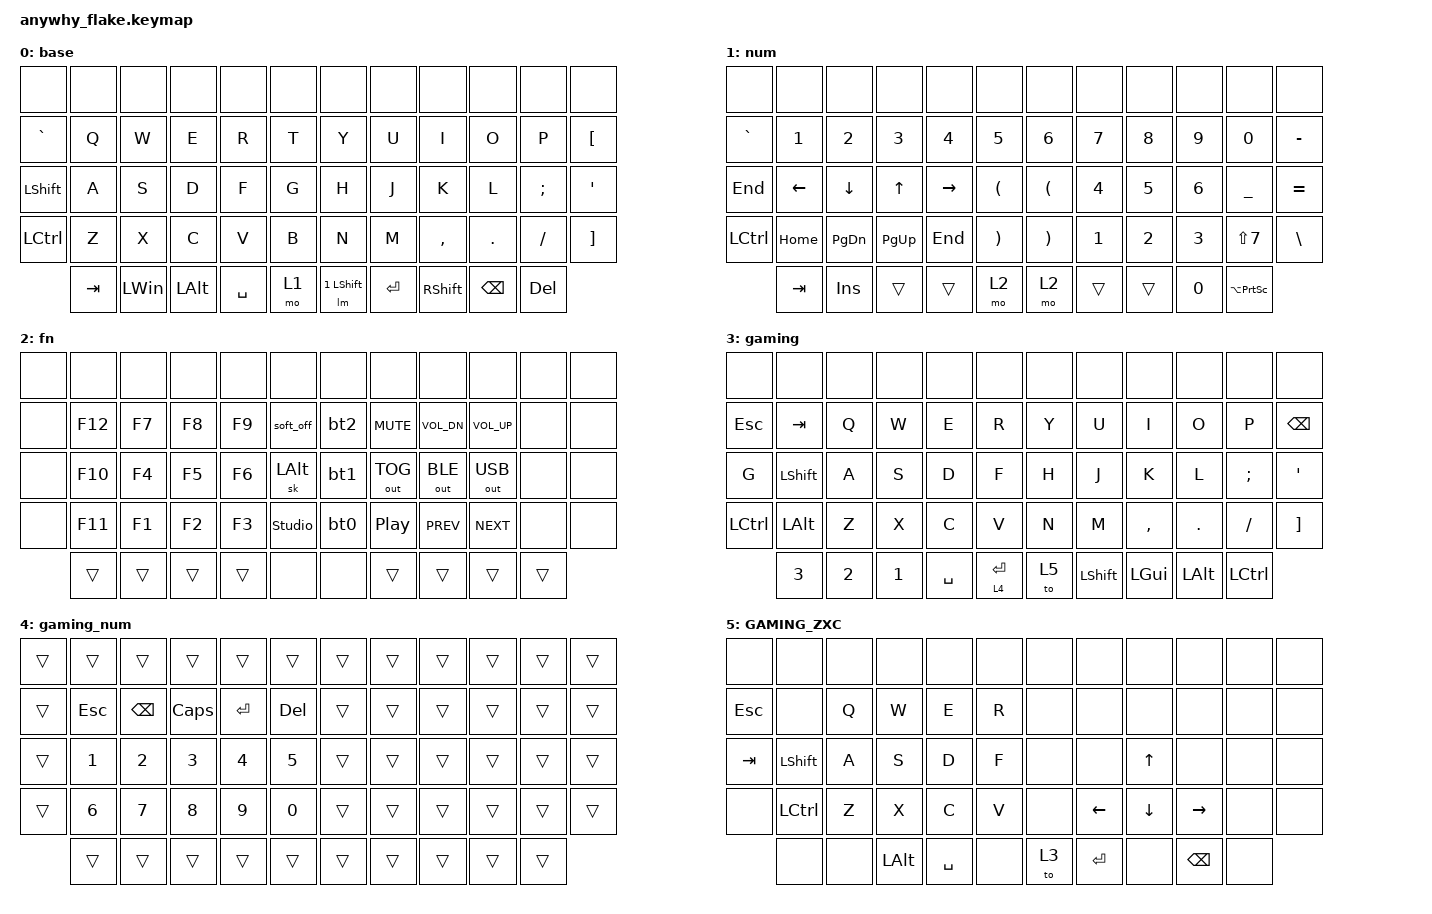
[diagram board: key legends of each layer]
#include <behaviors.dtsi>
#include <dt-bindings/zmk/bt.h>
#include <dt-bindings/zmk/keys.h>
#include <dt-bindings/zmk/outputs.h>

/ {
    combos {
        compatible = "zmk,combos";

        enter_gaming {
            bindings = <&to 3>;
            key-positions = <26 15 28>;
            layers = <2>;
        };

        leave_gaming {
            bindings = <&to 0>;
            key-positions = <23 22 21>;
            layers = <3 5>;
        };

        escape {
            bindings = <&kp ESC>;
            key-positions = <12 13>;
            layers = <0 3>;
        };

        shift-insert {
            bindings = <&kp LS(INSERT)>;
            key-positions = <20 55>;
            layers = <0>;
        };

        ctrl-insert {
            bindings = <&kp LC(INS)>;
            key-positions = <36 20>;
            layers = <0>;
        };

        Tab_c {
            bindings = <&kp TAB>;
            key-positions = <24 25>;
        };

        App_c {
            bindings = <&kp K_APPLICATION>;
            key-positions = <57 56>;
        };

        Alt_Tab {
            bindings = <&kp LA(TAB)>;
            key-positions = <50 24>;
            layers = <0>;
        };

        us_c {
            bindings = <&kp UNDERSCORE>;
            key-positions = <34 35>;
            layers = <0>;
        };

        bs_c {
            bindings = <&kp BACKSLASH>;
            key-positions = <47 46>;
        };
    };

    macros {
        bt_clr_0: bt_clr_0 {
            compatible = "zmk,behavior-macro";
            #binding-cells = <0>;
            bindings = <&bt BT_SEL 0 &bt BT_CLR>;
            label = "BT_CLR_0";
        };

        bt_clr_1: bt_clr_1 {
            compatible = "zmk,behavior-macro";
            #binding-cells = <0>;
            bindings = <&bt BT_SEL 1 &bt BT_CLR>;
            label = "BT_CLR_1";
        };

        bt_clr_2: bt_clr_2 {
            compatible = "zmk,behavior-macro";
            #binding-cells = <0>;
            bindings = <&bt BT_SEL 2 &bt BT_CLR>;
            label = "BT_CLR_2";
        };

        bt_clr_3: bt_clr_3 {
            compatible = "zmk,behavior-macro";
            #binding-cells = <0>;
            bindings = <&bt BT_SEL 3 &bt BT_CLR>;
            label = "BT_CLR_3";
        };

        bt_clr_4: bt_clr_4 {
            compatible = "zmk,behavior-macro";
            #binding-cells = <0>;
            bindings = <&bt BT_SEL 4 &bt BT_CLR>;
            label = "BT_CLR_4";
        };

        lm: lm {
            compatible = "zmk,behavior-macro-two-param";
            #binding-cells = <2>;
            bindings =
                <&macro_param_1to1>,
                <&macro_press>,
                <&mo MACRO_PLACEHOLDER &macro_param_2to1>,
                <&macro_press>,
                <&kp MACRO_PLACEHOLDER>,
                <&macro_pause_for_release>,
                <&macro_param_2to1>,
                <&macro_release>,
                <&kp MACRO_PLACEHOLDER &macro_param_1to1>,
                <&macro_release>,
                <&mo MACRO_PLACEHOLDER>;

            label = "LM";
        };
    };

    behaviors {
        bt0: bt0 {
            compatible = "zmk,behavior-mod-morph";
            label = "BT0";
            bindings = <&bt BT_SEL 0>, <&bt_clr_0>;

            #binding-cells = <0>;
            mods = <(MOD_LSFT|MOD_RSFT)>;
        };

        bt1: bt1 {
            compatible = "zmk,behavior-mod-morph";
            label = "BT1";
            bindings = <&bt BT_SEL 1>, <&bt_clr_1>;

            #binding-cells = <0>;
            mods = <(MOD_LSFT|MOD_RSFT)>;
        };

        bt2: bt2 {
            compatible = "zmk,behavior-mod-morph";
            label = "BT2";
            bindings = <&bt BT_SEL 2>, <&bt_clr_2>;

            #binding-cells = <0>;
            mods = <(MOD_LSFT|MOD_RSFT)>;
        };

        bt3: bt3 {
            compatible = "zmk,behavior-mod-morph";
            label = "BT3";
            bindings = <&bt BT_SEL 3>, <&bt_clr_3>;

            #binding-cells = <0>;
            mods = <(MOD_LSFT|MOD_RSFT)>;
        };

        bt4: bt4 {
            compatible = "zmk,behavior-mod-morph";
            label = "BT4";
            bindings = <&bt BT_SEL 4>, <&bt_clr_4>;

            #binding-cells = <0>;
            mods = <(MOD_LSFT|MOD_RSFT)>;
        };
    };

    keymap {
        compatible = "zmk,keymap";

        base {
            bindings = <
&none           &none    &none         &none         &none      &none    &none             &none      &none            &none          &none       &none
&kp GRAVE       &kp Q    &kp W         &kp E         &kp R      &kp T    &kp Y             &kp U      &kp I            &kp O          &kp P       &kp LEFT_BRACKET
&kp LEFT_SHIFT  &kp A    &kp S         &kp D         &kp F      &kp G    &kp H             &kp J      &kp K            &kp L          &kp SEMI    &kp APOS
&kp LCTRL       &kp Z    &kp X         &kp C         &kp V      &kp B    &kp N             &kp M      &kp COMMA        &kp DOT        &kp FSLH    &kp RBKT
                &kp TAB  &kp LEFT_WIN  &kp LEFT_ALT  &kp SPACE  &mo 1    &lm 1 LEFT_SHIFT  &kp ENTER  &kp RIGHT_SHIFT  &kp BACKSPACE  &kp DELETE
            >;
        };

        num {
            bindings = <
&none             &none     &none          &none        &none         &none                    &none                  &none   &none   &none   &none                &none
&kp GRAVE         &kp N1    &kp N2         &kp N3       &kp NUMBER_4  &kp N5                   &kp N6                 &kp N7  &kp N8  &kp N9  &kp N0               &kp MINUS
&kp END           &kp LEFT  &kp DOWN       &kp UP       &kp RIGHT     &kp LEFT_PARENTHESIS     &kp LEFT_PARENTHESIS   &kp N4  &kp N5  &kp N6  &kp UNDERSCORE       &kp EQUAL
&kp LEFT_CONTROL  &kp HOME  &kp PAGE_DOWN  &kp PAGE_UP  &kp END       &kp RIGHT_PARENTHESIS    &kp RIGHT_PARENTHESIS  &kp N1  &kp N2  &kp N3  &kp LS(N7)           &kp BACKSLASH
                  &kp TAB   &kp INS        &trans       &trans        &mo 2                    &mo 2                  &trans  &trans  &kp N0  &kp LA(PRINTSCREEN)
            >;
        };

        fn {
            bindings = <
&none  &none    &none   &none   &none   &none             &none  &none         &none         &none         &none   &none
&none  &kp F12  &kp F7  &kp F8  &kp F9  &soft_off         &bt2   &kp C_MUTE    &kp C_VOL_DN  &kp C_VOL_UP  &none   &none
&none  &kp F10  &kp F4  &kp F5  &kp F6  &sk LALT          &bt1   &out OUT_TOG  &out OUT_BLE  &out OUT_USB  &none   &none
&none  &kp F11  &kp F1  &kp F2  &kp F3  &studio_unlock    &bt0   &kp C_PP      &kp C_PREV    &kp C_NEXT    &none   &none
       &trans   &trans  &trans  &trans  &none             &none  &trans        &trans        &trans        &trans
            >;
        };

        gaming {
            bindings = <
&none      &none         &none         &none   &none      &none          &none  &none      &none      &none     &none      &none
&kp ESC    &kp TAB       &kp Q         &kp W   &kp E      &kp R          &kp Y  &kp U      &kp I      &kp O     &kp P      &kp BSPC
&kp G      &kp LSHFT     &kp A         &kp S   &kp D      &kp F          &kp H  &kp J      &kp K      &kp L     &kp SEMI   &kp APOS
&kp LCTRL  &kp LEFT_ALT  &kp Z         &kp X   &kp C      &kp V          &kp N  &kp M      &kp COMMA  &kp DOT   &kp FSLH   &kp RBKT
           &kp N3        &kp NUMBER_2  &kp N1  &kp SPACE  &lt 4 ENTER    &to 5  &kp LSHFT  &kp LGUI   &kp LALT  &kp LCTRL
            >;
        };

        gaming_num {
            bindings = <
&trans  &trans   &trans    &trans    &trans     &trans     &trans  &trans  &trans  &trans  &trans  &trans
&trans  &kp ESC  &kp BSPC  &kp CAPS  &kp ENTER  &kp DEL    &trans  &trans  &trans  &trans  &trans  &trans
&trans  &kp N1   &kp N2    &kp N3    &kp N4     &kp N5     &trans  &trans  &trans  &trans  &trans  &trans
&trans  &kp N6   &kp N7    &kp N8    &kp N9     &kp N0     &trans  &trans  &trans  &trans  &trans  &trans
        &trans   &trans    &trans    &trans     &trans     &trans  &trans  &trans  &trans  &trans
            >;
        };

        GAMING_ZXC {
            bindings = <
&none    &none      &none  &none     &none      &none    &none  &none      &none     &none          &none  &none
&kp ESC  &none      &kp Q  &kp W     &kp E      &kp R    &none  &none      &none     &none          &none  &none
&kp TAB  &kp LSHFT  &kp A  &kp S     &kp D      &kp F    &none  &none      &kp UP    &none          &none  &none
&none    &kp LCTRL  &kp Z  &kp X     &kp C      &kp V    &none  &kp LEFT   &kp DOWN  &kp RIGHT      &none  &none
         &none      &none  &kp LALT  &kp SPACE  &none    &to 3  &kp ENTER  &none     &kp BACKSPACE  &none
            >;
        };
    };
};
